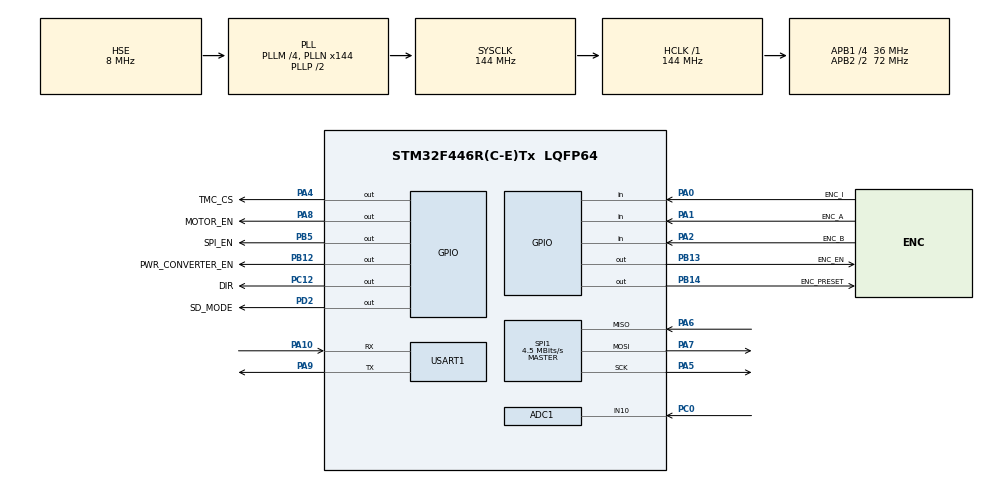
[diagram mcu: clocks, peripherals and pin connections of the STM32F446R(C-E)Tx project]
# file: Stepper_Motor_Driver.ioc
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ADC1.Channel-1\#ChannelRegularConversion=ADC_CHANNEL_10
ADC1.ClockPrescaler=ADC_CLOCK_SYNC_PCLK_DIV4
ADC1.NbrOfConversionFlag=1
ADC1.Rank-1\#ChannelRegularConversion=1
ADC1.SamplingTime-1\#ChannelRegularConversion=ADC_SAMPLETIME_56CYCLES
ADC1.master=1
FREERTOS.Tasks01=defaultTask,24,128,StartDefaultTask,Default,NULL,Dynamic,NULL,NULL
FREERTOS.configTOTAL_HEAP_SIZE=20480
FREERTOS.configUSE_NEWLIB_REENTRANT=1
Mcu.Family=STM32F4
Mcu.Name=STM32F446R(C-E)Tx
Mcu.Package=LQFP64
NVIC.PriorityGroup=NVIC_PRIORITYGROUP_4
NVIC.TIM6_DAC_IRQn=true\:15\:0\:false\:false\:true\:false\:false\:true\:true
NVIC.TimeBase=TIM6_DAC_IRQn
NVIC.TimeBaseIP=TIM6
PA0-WKUP.GPIO_Label=ENC_I
PA0-WKUP.Signal=GPIO_Input
PA1.GPIO_Label=ENC_A
PA1.Signal=GPIO_Input
PA10.Mode=Asynchronous
PA10.Signal=USART1_RX
PA2.GPIO_Label=ENC_B
PA2.Signal=GPIO_Input
PA4.GPIO_Label=TMC_CS
PA4.PinState=GPIO_PIN_SET
PA4.Signal=GPIO_Output
PA5.Mode=Full_Duplex_Master
PA5.Signal=SPI1_SCK
PA6.Mode=Full_Duplex_Master
PA6.Signal=SPI1_MISO
PA7.Mode=Full_Duplex_Master
PA7.Signal=SPI1_MOSI
PA8.GPIO_Label=MOTOR_EN
PA8.PinState=GPIO_PIN_SET
PA8.Signal=GPIO_Output
PA9.Mode=Asynchronous
PA9.Signal=USART1_TX
PB12.GPIO_Label=PWR_CONVERTER_EN
PB12.Signal=GPIO_Output
PB13.GPIO_Label=ENC_EN
PB13.PinState=GPIO_PIN_SET
PB13.Signal=GPIO_Output
PB14.GPIO_Label=ENC_PRESET
PB14.Signal=GPIO_Output
PB5.GPIO_Label=SPI_EN
PB5.PinState=GPIO_PIN_SET
PB5.Signal=GPIO_Output
PC0.Signal=ADCx_IN10
PC12.GPIO_Label=DIR
PC12.Signal=GPIO_Output
PD2.GPIO_Label=SD_MODE
PD2.Signal=GPIO_Output
PH0-OSC_IN.Mode=HSE-External-Oscillator
PH0-OSC_IN.Signal=RCC_OSC_IN
PH1-OSC_OUT.Mode=HSE-External-Oscillator
PH1-OSC_OUT.Signal=RCC_OSC_OUT
ProjectManager.HeapSize=0x200
ProjectManager.StackSize=0x400
ProjectManager.TargetToolchain=STM32CubeIDE
RCC.AHBFreq_Value=144000000
RCC.APB1CLKDivider=RCC_HCLK_DIV4
RCC.APB1Freq_Value=36000000
RCC.APB1TimFreq_Value=72000000
RCC.APB2CLKDivider=RCC_HCLK_DIV2
RCC.APB2Freq_Value=72000000
RCC.APB2TimFreq_Value=144000000
RCC.CortexFreq_Value=144000000
RCC.HCLKFreq_Value=144000000
RCC.HSE_VALUE=8000000
RCC.PLLM=4
RCC.PLLN=144
RCC.PLLSourceVirtual=RCC_PLLSOURCE_HSE
RCC.SYSCLKFreq_VALUE=144000000
RCC.SYSCLKSource=RCC_SYSCLKSOURCE_PLLCLK
RCC.USBFreq_Value=144000000
RCC.VCOOutputFreq_Value=288000000
SH.ADCx_IN10.0=ADC1_IN10,IN10
SPI1.BaudRatePrescaler=SPI_BAUDRATEPRESCALER_16
SPI1.CLKPhase=SPI_PHASE_2EDGE
SPI1.CLKPolarity=SPI_POLARITY_HIGH
SPI1.CalculateBaudRate=4.5 MBits/s
SPI1.Direction=SPI_DIRECTION_2LINES
SPI1.Mode=SPI_MODE_MASTER
SPI1.VirtualType=VM_MASTER
USART1.VirtualMode=VM_ASYNC
VP_FREERTOS_VS_CMSIS_V2.Mode=CMSIS_V2
VP_SYS_VS_tim6.Mode=TIM6
board=custom

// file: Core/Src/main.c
/* USER CODE BEGIN Header */
/* USER CODE END Header */
#include "main.h"
#include "cmsis_os.h"

/* USER CODE BEGIN Includes */
#include <stdio.h>
#include "TMC5160.h"
/* USER CODE END Includes */

/* USER CODE BEGIN PTD */
typedef enum
{
	STATE_CALIBRATION = 0,
	STATE_RUNNING
}SystemState_t;
/* USER CODE END PTD */

ADC_HandleTypeDef hadc1;
SPI_HandleTypeDef hspi1;
UART_HandleTypeDef huart1;

/* Definitions for defaultTask */
osThreadId_t defaultTaskHandle;
const osThreadAttr_t defaultTask_attributes = {
  .name = "defaultTask",
  .stack_size = 128 * 4,
  .priority = (osPriority_t) osPriorityNormal,
};

/* USER CODE BEGIN PV */
osThreadId_t logicTaskHandle;
osThreadId_t canTaskHandle;
osMessageQueueId_t canQueueHandle;

const osThreadAttr_t logicTask_attributes = { .name = "LogicTask", .stack_size = 512 * 4, .priority = osPriorityNormal };
const osThreadAttr_t canTask_attributes = { .name = "CANTask", .stack_size = 256 * 4, .priority = osPriorityNormal };
/* USER CODE END PV */

void SystemClock_Config(void);
static void MX_GPIO_Init(void);
static void MX_SPI1_Init(void);
static void MX_ADC1_Init(void);
static void MX_USART1_UART_Init(void);
void StartDefaultTask(void *argument);

/* USER CODE BEGIN PFP */
void vLogicTask(void *argument);
void vCANTask(void *argument);
/* USER CODE END PFP */

int main(void)
{

  /* MCU Configuration--------------------------------------------------------*/
  HAL_Init();

  SystemClock_Config();

  MX_GPIO_Init();
  MX_SPI1_Init();
  MX_ADC1_Init();
  MX_USART1_UART_Init();

  osKernelInitialize();

  /* USER CODE BEGIN RTOS_QUEUES */
  canQueueHandle = osMessageQueueNew(10, sizeof(int32_t), NULL);
  /* USER CODE END RTOS_QUEUES */

  defaultTaskHandle = osThreadNew(StartDefaultTask, NULL, &defaultTask_attributes);

  /* USER CODE BEGIN RTOS_THREADS */
  logicTaskHandle = osThreadNew(vLogicTask, NULL, &logicTask_attributes);
  canTaskHandle = osThreadNew(vCANTask, NULL, &canTask_attributes);
  /* USER CODE END RTOS_THREADS */

  osKernelStart();

  while (1)
  {
  }
}

/* USER CODE BEGIN 4 */

int _write(int file, char *ptr, int len) {
    HAL_UART_Transmit(&huart1, (uint8_t*)ptr, len, HAL_MAX_DELAY);
    return len;
}

// --- wrapper dla biblioteki od TMC ---
void tmc5160_readWriteSPI(uint16_t icID, uint8_t *data, size_t dataLength) {
    HAL_GPIO_WritePin(GPIOA, TMC_CS_Pin, GPIO_PIN_RESET);
    HAL_SPI_TransmitReceive(&hspi1, data, data, dataLength, HAL_MAX_DELAY);
    HAL_GPIO_WritePin(GPIOA, TMC_CS_Pin, GPIO_PIN_SET);
}

bool tmc5160_readWriteUART(uint16_t icID, uint8_t *data, size_t writeLength, size_t readLength) {
    return false;
}

TMC5160BusType tmc5160_getBusType(uint16_t icID) {
    return IC_BUS_SPI;
}

uint8_t tmc5160_getNodeAddress(uint16_t icID) {
    return 0;
}
// ----------------------------------------

void vLogicTask(void *argument)
{
    uint32_t adc_raw = 0;
    float real_voltage = 12.0f;

    // twardy reset
    HAL_GPIO_WritePin(GPIOB, PWR_CONVERTER_EN_Pin, GPIO_PIN_RESET); // wylaczenie przetwornicy
    HAL_GPIO_WritePin(GPIOD, SD_MODE_Pin, GPIO_PIN_RESET); // SD_MODE na 0 zeby uklad sluchal SPI
    HAL_GPIO_WritePin(GPIOA, MOTOR_EN_Pin, GPIO_PIN_SET);
    HAL_GPIO_WritePin(GPIOA, TMC_CS_Pin, GPIO_PIN_SET);
    HAL_GPIO_WritePin(GPIOB, SPI_EN_Pin, GPIO_PIN_SET);
    HAL_GPIO_WritePin(GPIOC, DIR_Pin, GPIO_PIN_RESET);

    printf("[LOGIC] oczekiwanie az spadnie ponizej 800mV\r\n");

    // dzielnik napięcia - poczekac aż bedzie około 800mV
    while(real_voltage > 0.8f)
    {
        HAL_ADC_Start(&hadc1);
        if(HAL_ADC_PollForConversion(&hadc1, 10) == HAL_OK)
        {
            adc_raw = HAL_ADC_GetValue(&hadc1);
            real_voltage = (((float)adc_raw * 3.3f) / 4095.0f) * 4.03f;
            printf("[LOGIC] V: %.2f\r\n", real_voltage);
        }
        osDelay(10);
    }

    printf("[LOGIC] napiecie zeszlo. Wlaczam zasilanie\r\n");
    HAL_GPIO_WritePin(GPIOB, PWR_CONVERTER_EN_Pin, GPIO_PIN_SET);
    osDelay(2000);
    HAL_GPIO_WritePin(GPIOA, MOTOR_EN_Pin, GPIO_PIN_RESET);
    osDelay(500);

    // konfiguracja rejestrów
    printf("[LOGIC] konfiguracja rejestrow \r\n");

    tmc5160_writeRegister(0, TMC5160_GSTAT, 0x07);            // czyszczenie smieci z GSTAT
    tmc5160_writeRegister(0, TMC5160_SWMODE, 0x00);           // wylaczenie krancowek
    tmc5160_writeRegister(0, TMC5160_CHOPCONF, 0x000100C3);   // CHOPCONF (SpreadCycle domyslny)
    tmc5160_writeRegister(0, TMC5160_IHOLD_IRUN, 0x00061F0A); // IRUN na 31 (MAX pradu)
    tmc5160_writeRegister(0, TMC5160_TPOWERDOWN, 0x0A);

    // Wylaczamy StealthChop, czyli cichą prace
    tmc5160_writeRegister(0, TMC5160_GCONF, 0x00);

    // agresywna rampa pod klapy
    tmc5160_writeRegister(0, TMC5160_A1, 10000);
    tmc5160_writeRegister(0, TMC5160_V1, 80000);
    tmc5160_writeRegister(0, TMC5160_AMAX, 8000);
    tmc5160_writeRegister(0, TMC5160_VMAX, 300000);
    tmc5160_writeRegister(0, TMC5160_DMAX, 10000);
    tmc5160_writeRegister(0, TMC5160_D1, 15000);
    tmc5160_writeRegister(0, TMC5160_VSTOP, 10);

    tmc5160_writeRegister(0, TMC5160_RAMPMODE, TMC5160_MODE_POSITION); // tryb pozycjonowania
    tmc5160_writeRegister(0, TMC5160_XACTUAL, 0); // XACTUAL na 0

    osDelay(1000);

    // symulacja z CANa
    volatile int32_t target_position = 0;
    int32_t current_target = 0;
    int step = 0;

    while(1)
    {
        // tu bedzie nadpisywac CAN z joysticka, narazie symulacja ruchow
        step++;
        if(step == 1) target_position = 200000;
        if(step == 2) target_position = -200000;
        if(step > 2) step = 0;

        // blyskawiczna aktualizacja rejestru bez czekania
        if(target_position != current_target) {
            printf("[RUNNING] Jazda na: %ld\r\n", target_position);
            tmc5160_writeRegister(0, TMC5160_XTARGET, target_position);
            current_target = target_position;
        }

        // na testy zeby bylo widac ze jedzie (potem wywalic ten delay)
        osDelay(1500);
    }
}

void vCANTask(void *argument)
{
    // tu bedzie logika od odbierania ramek danych w joysticka
    while(1)
    {
        osDelay(100);
    }
}
/* USER CODE END 4 */

/* USER CODE BEGIN Header_StartDefaultTask */
void StartDefaultTask(void *argument)
{
  for(;;)
  {
    osDelay(1);
  }
}
/* USER CODE END Header_StartDefaultTask */

void HAL_TIM_PeriodElapsedCallback(TIM_HandleTypeDef *htim)
{
  if (htim->Instance == TIM6)
  {
    HAL_IncTick();
  }
}

void Error_Handler(void)
{
  __disable_irq();
  while (1)
  {
  }
}

void SystemClock_Config(void)
{
  RCC_OscInitTypeDef RCC_OscInitStruct = {0};
  RCC_ClkInitTypeDef RCC_ClkInitStruct = {0};

  __HAL_RCC_PWR_CLK_ENABLE();
  __HAL_PWR_VOLTAGESCALING_CONFIG(PWR_REGULATOR_VOLTAGE_SCALE1);

  RCC_OscInitStruct.OscillatorType = RCC_OSCILLATORTYPE_HSE;
  RCC_OscInitStruct.HSEState = RCC_HSE_ON;
  RCC_OscInitStruct.PLL.PLLState = RCC_PLL_ON;
  RCC_OscInitStruct.PLL.PLLSource = RCC_PLLSOURCE_HSE;
  RCC_OscInitStruct.PLL.PLLM = 4;
  RCC_OscInitStruct.PLL.PLLN = 144;
  RCC_OscInitStruct.PLL.PLLP = RCC_PLLP_DIV2;
  RCC_OscInitStruct.PLL.PLLQ = 2;
  RCC_OscInitStruct.PLL.PLLR = 2;
  if (HAL_RCC_OscConfig(&RCC_OscInitStruct) != HAL_OK)
  {
    Error_Handler();
  }

  RCC_ClkInitStruct.ClockType = RCC_CLOCKTYPE_HCLK|RCC_CLOCKTYPE_SYSCLK
                              |RCC_CLOCKTYPE_PCLK1|RCC_CLOCKTYPE_PCLK2;
  RCC_ClkInitStruct.SYSCLKSource = RCC_SYSCLKSOURCE_PLLCLK;
  RCC_ClkInitStruct.AHBCLKDivider = RCC_SYSCLK_DIV1;
  RCC_ClkInitStruct.APB1CLKDivider = RCC_HCLK_DIV4;
  RCC_ClkInitStruct.APB2CLKDivider = RCC_HCLK_DIV2;

  if (HAL_RCC_ClockConfig(&RCC_ClkInitStruct, FLASH_LATENCY_4) != HAL_OK)
  {
    Error_Handler();
  }
}

static void MX_ADC1_Init(void)
{
  ADC_ChannelConfTypeDef sConfig = {0};

  hadc1.Instance = ADC1;
  hadc1.Init.ClockPrescaler = ADC_CLOCK_SYNC_PCLK_DIV4;
  hadc1.Init.Resolution = ADC_RESOLUTION_12B;
  hadc1.Init.ScanConvMode = DISABLE;
  hadc1.Init.ContinuousConvMode = DISABLE;
  hadc1.Init.DiscontinuousConvMode = DISABLE;
  hadc1.Init.ExternalTrigConvEdge = ADC_EXTERNALTRIGCONVEDGE_NONE;
  hadc1.Init.ExternalTrigConv = ADC_SOFTWARE_START;
  hadc1.Init.DataAlign = ADC_DATAALIGN_RIGHT;
  hadc1.Init.NbrOfConversion = 1;
  hadc1.Init.DMAContinuousRequests = DISABLE;
  hadc1.Init.EOCSelection = ADC_EOC_SINGLE_CONV;
  if (HAL_ADC_Init(&hadc1) != HAL_OK)
  {
    Error_Handler();
  }

  sConfig.Channel = ADC_CHANNEL_10;
  sConfig.Rank = 1;
  sConfig.SamplingTime = ADC_SAMPLETIME_56CYCLES;
  if (HAL_ADC_ConfigChannel(&hadc1, &sConfig) != HAL_OK)
  {
    Error_Handler();
  }
}

static void MX_SPI1_Init(void)
{
  hspi1.Instance = SPI1;
  hspi1.Init.Mode = SPI_MODE_MASTER;
  hspi1.Init.Direction = SPI_DIRECTION_2LINES;
  hspi1.Init.DataSize = SPI_DATASIZE_8BIT;
  hspi1.Init.CLKPolarity = SPI_POLARITY_HIGH;
  hspi1.Init.CLKPhase = SPI_PHASE_2EDGE;
  hspi1.Init.NSS = SPI_NSS_SOFT;
  hspi1.Init.BaudRatePrescaler = SPI_BAUDRATEPRESCALER_16;
  hspi1.Init.FirstBit = SPI_FIRSTBIT_MSB;
  hspi1.Init.TIMode = SPI_TIMODE_DISABLE;
  hspi1.Init.CRCCalculation = SPI_CRCCALCULATION_DISABLE;
  hspi1.Init.CRCPolynomial = 10;
  if (HAL_SPI_Init(&hspi1) != HAL_OK)
  {
    Error_Handler();
  }
}

static void MX_USART1_UART_Init(void)
{
  huart1.Instance = USART1;
  huart1.Init.BaudRate = 115200;
  huart1.Init.WordLength = UART_WORDLENGTH_8B;
  huart1.Init.StopBits = UART_STOPBITS_1;
  huart1.Init.Parity = UART_PARITY_NONE;
  huart1.Init.Mode = UART_MODE_TX_RX;
  huart1.Init.HwFlowCtl = UART_HWCONTROL_NONE;
  huart1.Init.OverSampling = UART_OVERSAMPLING_16;
  if (HAL_UART_Init(&huart1) != HAL_OK)
  {
    Error_Handler();
  }
}

static void MX_GPIO_Init(void)
{
  GPIO_InitTypeDef GPIO_InitStruct = {0};

  __HAL_RCC_GPIOH_CLK_ENABLE();
  __HAL_RCC_GPIOC_CLK_ENABLE();
  __HAL_RCC_GPIOA_CLK_ENABLE();
  __HAL_RCC_GPIOB_CLK_ENABLE();
  __HAL_RCC_GPIOD_CLK_ENABLE();

  HAL_GPIO_WritePin(GPIOA, TMC_CS_Pin|MOTOR_EN_Pin, GPIO_PIN_SET);
  HAL_GPIO_WritePin(GPIOB, PWR_CONVERTER_EN_Pin|ENC_PRESET_Pin, GPIO_PIN_RESET);
  HAL_GPIO_WritePin(GPIOB, ENC_EN_Pin|SPI_EN_Pin, GPIO_PIN_SET);
  HAL_GPIO_WritePin(DIR_GPIO_Port, DIR_Pin, GPIO_PIN_RESET);
  HAL_GPIO_WritePin(SD_MODE_GPIO_Port, SD_MODE_Pin, GPIO_PIN_RESET);

  GPIO_InitStruct.Pin = ENC_I_Pin|ENC_A_Pin|ENC_B_Pin;
  GPIO_InitStruct.Mode = GPIO_MODE_INPUT;
  GPIO_InitStruct.Pull = GPIO_NOPULL;
  HAL_GPIO_Init(GPIOA, &GPIO_InitStruct);

  GPIO_InitStruct.Pin = TMC_CS_Pin|MOTOR_EN_Pin;
  GPIO_InitStruct.Mode = GPIO_MODE_OUTPUT_PP;
  GPIO_InitStruct.Pull = GPIO_NOPULL;
  GPIO_InitStruct.Speed = GPIO_SPEED_FREQ_LOW;
  HAL_GPIO_Init(GPIOA, &GPIO_InitStruct);

  GPIO_InitStruct.Pin = PWR_CONVERTER_EN_Pin|ENC_EN_Pin|ENC_PRESET_Pin|SPI_EN_Pin;
  GPIO_InitStruct.Mode = GPIO_MODE_OUTPUT_PP;
  GPIO_InitStruct.Pull = GPIO_NOPULL;
  GPIO_InitStruct.Speed = GPIO_SPEED_FREQ_LOW;
  HAL_GPIO_Init(GPIOB, &GPIO_InitStruct);

  GPIO_InitStruct.Pin = DIR_Pin;
  GPIO_InitStruct.Mode = GPIO_MODE_OUTPUT_PP;
  GPIO_InitStruct.Pull = GPIO_NOPULL;
  GPIO_InitStruct.Speed = GPIO_SPEED_FREQ_LOW;
  HAL_GPIO_Init(DIR_GPIO_Port, &GPIO_InitStruct);

  GPIO_InitStruct.Pin = SD_MODE_Pin;
  GPIO_InitStruct.Mode = GPIO_MODE_OUTPUT_PP;
  GPIO_InitStruct.Pull = GPIO_NOPULL;
  GPIO_InitStruct.Speed = GPIO_SPEED_FREQ_LOW;
  HAL_GPIO_Init(SD_MODE_GPIO_Port, &GPIO_InitStruct);
}
